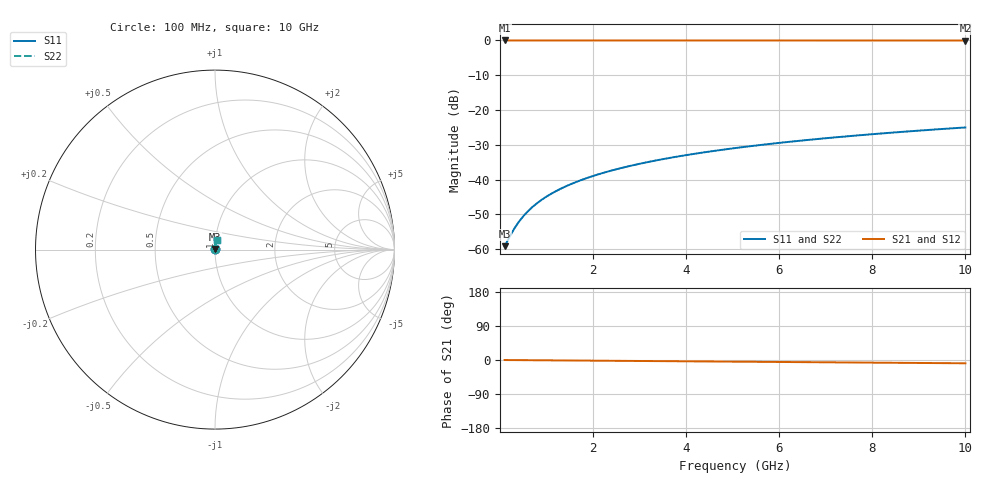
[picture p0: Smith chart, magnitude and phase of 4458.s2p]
# Hz S RI R 50.00
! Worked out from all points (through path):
!   100 points, 100 MHz to 10 GHz, reference 50 ohm
!   highest |S21| = -0.01 dB at 100 MHz (marker M1); lowest = 0.0 dB at 10 GHz (marker M2)
!   group delay of S21, straight-line fit = 2.41 ps
!   lowest |S11| = -59.1 dB at 100 MHz (marker M3), VSWR 1.00, Z = 50.1 + j0.0561 ohm
!   |S11| at or under -10 dB: start of sweep to end of sweep
!   |S22| runs from -59.1 to -25.0 dB; largest |S21 - S12| = 0
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1e8  0.000953 0.00056  0.999 -0.00151  0.999 -0.00151  0.000953 0.00056
2e8  0.000961 0.00112  0.999 -0.00301  0.999 -0.00301  0.000961 0.00112
3e8  0.000969 0.00168  0.999 -0.00452  0.999 -0.00452  0.000969 0.00168
4e8  0.000979 0.00224  0.999 -0.00603  0.999 -0.00603  0.000979 0.00224
5e8  0.000989 0.0028  0.999 -0.00754  0.999 -0.00754  0.000989 0.0028
6e8  0.001 0.00336  0.999 -0.00904  0.999 -0.00904  0.001 0.00336
7e8  0.00101 0.00392  0.999 -0.0106  0.999 -0.0106  0.00101 0.00392
9e8  0.00105 0.00504  0.9989 -0.0136  0.9989 -0.0136  0.00105 0.00504
1e9  0.00106 0.0056  0.9989 -0.0151  0.9989 -0.0151  0.00106 0.0056
1.2e9  0.0011 0.00672  0.9988 -0.0181  0.9988 -0.0181  0.0011 0.00672
1.5e9  0.00118 0.00839  0.9987 -0.0226  0.9987 -0.0226  0.00118 0.00839
1.8e9  0.00126 0.0101  0.9986 -0.0271  0.9986 -0.0271  0.00126 0.0101
2.1e9  0.00136 0.0117  0.9984 -0.0317  0.9984 -0.0317  0.00136 0.0117
2.5e9  0.00152 0.014  0.9982 -0.0377  0.9982 -0.0377  0.00152 0.014
2.9e9  0.00171 0.0162  0.9979 -0.0437  0.9979 -0.0437  0.00171 0.0162
3.4e9  0.00198 0.019  0.9975 -0.0513  0.9975 -0.0513  0.00198 0.019
4.2e9  0.0025 0.0235  0.9967 -0.0633  0.9967 -0.0633  0.0025 0.0235
5.1e9  0.00321 0.0285  0.9956 -0.0769  0.9956 -0.0769  0.00321 0.0285
5.9e9  0.00396 0.0329  0.9944 -0.089  0.9944 -0.089  0.00396 0.0329
6.7e9  0.00482 0.0373  0.9931 -0.101  0.9931 -0.101  0.00482 0.0373
8.4e9  0.007 0.0466  0.9897 -0.1266  0.9897 -0.1266  0.007 0.0466
1e10  0.00951 0.0554  0.9858 -0.1506  0.9858 -0.1506  0.00951 0.0554
